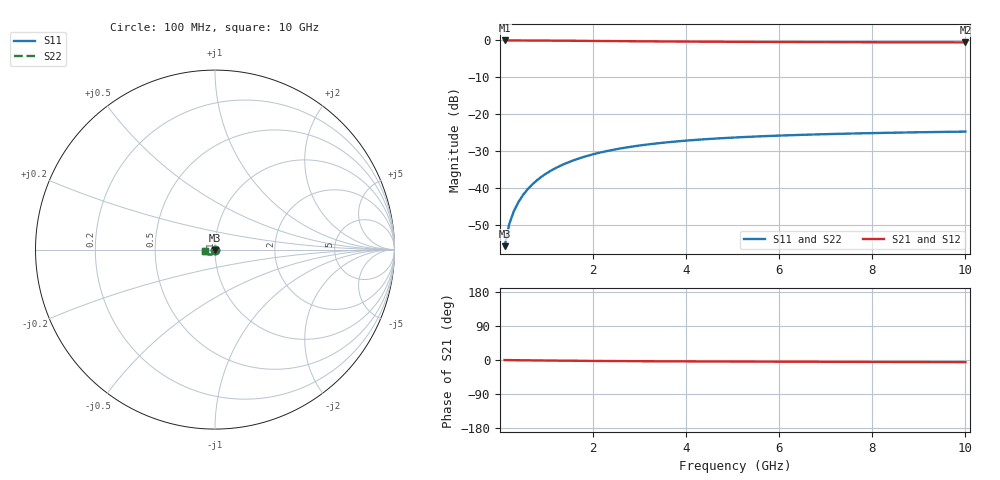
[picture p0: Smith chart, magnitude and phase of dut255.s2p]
! Touchstone file exported from HFSS 2024.1.0
!  File:  C:/UserFiles/LocalFiles/RDL_TSV_Batchsim/temp_TSV1_255_1779390954.aedt
!  Generated:  03:22:47 AM May 22, 2026
!  Design:  TSV1
!  Project:  temp_TSV1_255_1779390954
!  Setup:  Setup1
!  Solution:  Sweep
! Variables:
!  dtsv = 12.03um
!  hbump = 3um
!  htsv = 89.17um
!  lrdl = 252.1521522um
!  p = 40
!  p1 = 49.64um
!  t = 500um
!  trdl = 3um
!  wrdl = 24.89489489um
# GHz S MA R 50.000000
! Terminal data exported
! Port[1] = TSV22_T1
! Port[2] = TSV22_T2
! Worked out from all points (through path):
!   100 points, 100 MHz to 10 GHz, reference 50 ohm
!   highest |S21| = 0.00 dB at 100 MHz (marker M1); lowest = -0.5 dB at 10 GHz (marker M2)
!   lowest |S11| = -55.7 dB at 100 MHz (marker M3), VSWR 1.00, Z = 50 - j0.164 ohm
!   |S11| at or under -10 dB: start of sweep to end of sweep
!   |S22| runs from -55.7 to -24.7 dB; largest |S21 - S12| = 6.2e-15
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0.1  0.001644 -87.9  0.9998 -0.1  0.9998 -0.1  0.001644 -87.9
! Gamma 0 0 0 0
! Port Impedance 50 0 50 0
0.2  0.003283 -91.4  0.9997 -0.3  0.9997 -0.3  0.003283 -91.4
0.3  0.00492 -93.7  0.9994 -0.4  0.9994 -0.4  0.00492 -93.7
0.4  0.006551 -95.6  0.999 -0.6  0.999 -0.6  0.006551 -95.6
0.5  0.008169 -97.5  0.9986 -0.7  0.9986 -0.7  0.008169 -97.5
0.6  0.00977 -99.3  0.9981 -0.9  0.9981 -0.9  0.00977 -99.3
0.7  0.01135 -101.1  0.9975 -1.0  0.9975 -1.0  0.01135 -101.1
0.8  0.0129 -102.9  0.9968 -1.1  0.9968 -1.1  0.0129 -102.9
0.9  0.01442 -104.6  0.996 -1.3  0.996 -1.3  0.01442 -104.6
1.1  0.01737 -107.9  0.9944 -1.5  0.9944 -1.5  0.01737 -107.9
1.4  0.02152 -112.6  0.9915 -1.9  0.9915 -1.9  0.02152 -112.6
1.6  0.0241 -115.6  0.9894 -2.1  0.9894 -2.1  0.0241 -115.6
1.8  0.02651 -118.4  0.9873 -2.3  0.9873 -2.3  0.02651 -118.4
2.1  0.02983 -122.4  0.984 -2.5  0.984 -2.5  0.02983 -122.4
2.5  0.03374 -127.3  0.9796 -2.8  0.9796 -2.8  0.03374 -127.3
2.9  0.03709 -131.7  0.9755 -3.1  0.9755 -3.1  0.03709 -131.7
3.4  0.04063 -136.6  0.9707 -3.4  0.9707 -3.4  0.04063 -136.6
4.2  0.04507 -143.2  0.9641 -3.7  0.9641 -3.7  0.04507 -143.2
5.1  0.04878 -149.4  0.9582 -4.1  0.9582 -4.1  0.04878 -149.4
6.7  0.05328 -158.0  0.9505 -4.6  0.9505 -4.6  0.05328 -158.0
8.4  0.05635 -165.1  0.9451 -5.2  0.9451 -5.2  0.05635 -165.1
10  0.05837 -170.5  0.9416 -5.7  0.9416 -5.7  0.05837 -170.5
